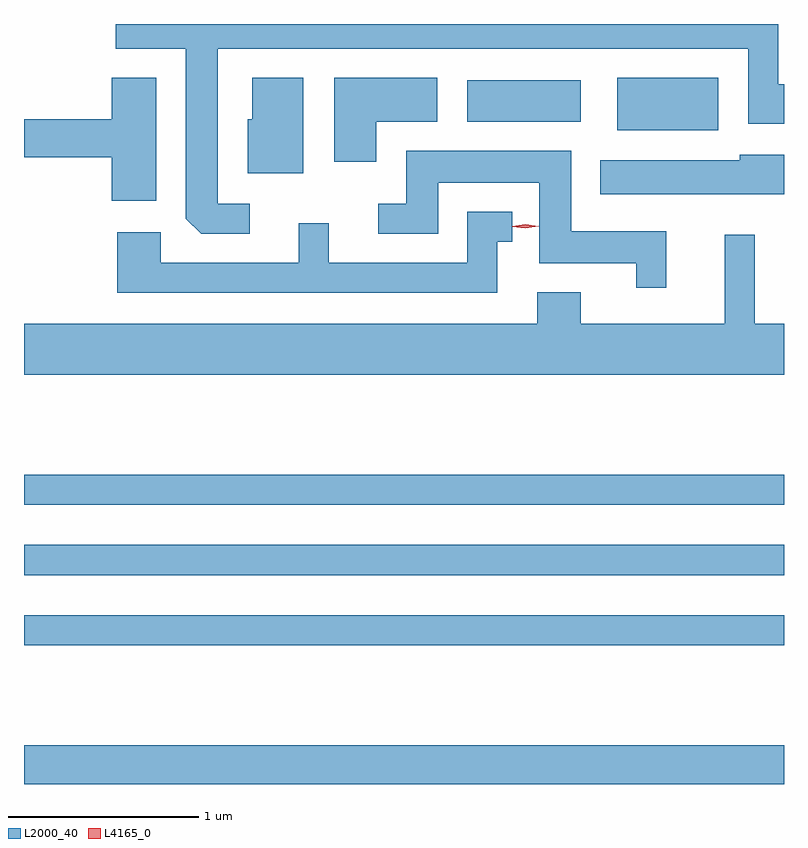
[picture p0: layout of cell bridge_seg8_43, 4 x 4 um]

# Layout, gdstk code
import gdstk
lib = gdstk.Library(unit=1e-6, precision=1e-09)
def R(c, l, rs):  # rectangles x0, y0, x1, y1
    for r in rs: c.add(gdstk.rectangle(r[:2], r[2:], *l))
def A(c, l, x, y, w, h, nx, ny, dx, dy):  # array of equal rectangles
    R(c, l, [(x+i*dx, y+j*dy, x+i*dx+w, y+j*dy+h) for i in range(nx) for j in range(ny)])
def P(c, l, *ps):  # polygons
    for p in ps: c.add(gdstk.Polygon(p, *l))
L2000_40 = (2000, 40)
L4165_0 = (4165, 0)

bridge_seg8_43 = lib.new_cell('bridge_seg8_43')
A(bridge_seg8_43, L2000_40, 1596.039, 1890.491, 4, 0.158, 1, 3, 0, 0.37)
R(bridge_seg8_43, L2000_40, [(1596.039,1889.761,1600.039,1889.964), (1599.161,1893.201,1599.694,1893.479), (1598.371,1893.246,1598.969,1893.464)])
P(bridge_seg8_43, L2000_40, [(1597.228,1892.814),(1597.059,1892.814),(1597.059,1893.631),(1599.851,1893.631),(1599.851,1893.236),(1600.039,1893.236),(1600.039,1893.444),(1600.009,1893.444),(1600.009,1893.761),(1596.523,1893.761),(1596.523,1893.631),(1596.891,1893.631),(1596.891,1892.737),(1596.972,1892.656),(1597.228,1892.656)],
  [(1596.734,1893.479),(1596.501,1893.479),(1596.501,1893.259),(1596.039,1893.259),(1596.039,1893.061),(1596.501,1893.061),(1596.501,1892.831),(1596.734,1892.831)],
  [(1597.894,1893.246),(1598.214,1893.246),(1598.214,1893.479),(1597.671,1893.479),(1597.671,1893.036),(1597.894,1893.036)],
  [(1597.509,1893.479),(1597.241,1893.479),(1597.241,1893.259),(1597.216,1893.259),(1597.216,1892.976),(1597.509,1892.976)],
  [(1599.419,1892.669),(1598.919,1892.669),(1598.919,1893.094),(1598.051,1893.094),(1598.051,1892.814),(1597.903,1892.814),(1597.903,1892.656),(1598.219,1892.656),(1598.219,1892.926),(1598.751,1892.926),(1598.751,1892.501),(1599.261,1892.501),(1599.261,1892.373),(1599.419,1892.373)],
  [(1600.039,1893.074),(1599.806,1893.074),(1599.806,1893.044),(1599.071,1893.044),(1599.071,1892.866),(1600.039,1892.866)],
  [(1598.529,1892.616),(1598.608,1892.616),(1598.608,1892.774),(1598.371,1892.774),(1598.371,1892.504),(1597.644,1892.504),(1597.644,1892.713),(1597.486,1892.713),(1597.486,1892.504),(1596.759,1892.504),(1596.759,1892.664),(1596.531,1892.664),(1596.531,1892.346),(1598.529,1892.346)],
  [(1600.039,1892.184),(1599.884,1892.184),(1599.884,1892.653),(1599.726,1892.653),(1599.726,1892.184),(1598.969,1892.184),(1598.969,1892.349),(1598.741,1892.349),(1598.741,1892.184),(1596.039,1892.184),(1596.039,1891.916),(1600.039,1891.916)])
P(bridge_seg8_43, L4165_0, [(1598.678,1892.686),(1598.609,1892.695),(1598.609,1892.696),(1598.609,1892.696),(1598.678,1892.706),(1598.748,1892.697),(1598.748,1892.696),(1598.748,1892.696)])

lib.write_gds('bridge_seg8_43.gds')
